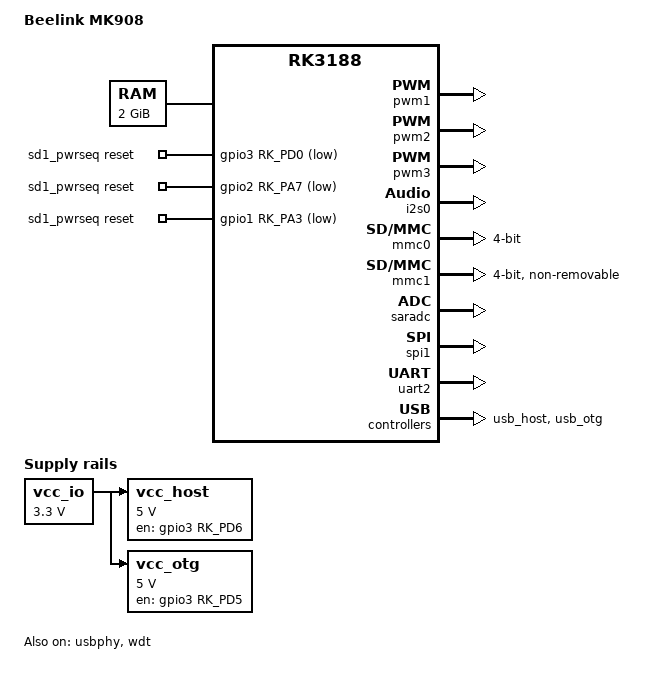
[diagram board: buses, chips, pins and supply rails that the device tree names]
/*
 * Copyright (c) 2013 Heiko Stuebner <heiko@sntech.de>
 *
 * This file is dual-licensed: you can use it either under the terms
 * of the GPL or the X11 license, at your option. Note that this dual
 * licensing only applies to this file, and not this project as a
 * whole.
 *
 *  a) This file is free software; you can redistribute it and/or
 *     modify it under the terms of the GNU General Public License as
 *     published by the Free Software Foundation; either version 2 of the
 *     License, or (at your option) any later version.
 *
 *     This file is distributed in the hope that it will be useful,
 *     but WITHOUT ANY WARRANTY; without even the implied warranty of
 *     MERCHANTABILITY or FITNESS FOR A PARTICULAR PURPOSE.  See the
 *     GNU General Public License for more details.
 *
 * Or, alternatively,
 *
 *  b) Permission is hereby granted, free of charge, to any person
 *     obtaining a copy of this software and associated documentation
 *     files (the "Software"), to deal in the Software without
 *     restriction, including without limitation the rights to use,
 *     copy, modify, merge, publish, distribute, sublicense, and/or
 *     sell copies of the Software, and to permit persons to whom the
 *     Software is furnished to do so, subject to the following
 *     conditions:
 *
 *     The above copyright notice and this permission notice shall be
 *     included in all copies or substantial portions of the Software.
 *
 *     THE SOFTWARE IS PROVIDED "AS IS", WITHOUT WARRANTY OF ANY KIND,
 *     EXPRESS OR IMPLIED, INCLUDING BUT NOT LIMITED TO THE WARRANTIES
 *     OF MERCHANTABILITY, FITNESS FOR A PARTICULAR PURPOSE AND
 *     NONINFRINGEMENT. IN NO EVENT SHALL THE AUTHORS OR COPYRIGHT
 *     HOLDERS BE LIABLE FOR ANY CLAIM, DAMAGES OR OTHER LIABILITY,
 *     WHETHER IN AN ACTION OF CONTRACT, TORT OR OTHERWISE, ARISING
 *     FROM, OUT OF OR IN CONNECTION WITH THE SOFTWARE OR THE USE OR
 *     OTHER DEALINGS IN THE SOFTWARE.
 */

/dts-v1/;
#include <dt-bindings/input/input.h>
#include "rk3188.dtsi"

/ {
	model = "Beelink MK908";
	compatible = "radxa,rock", "rockchip,rk3188";

	memory@60000000 {
		device_type = "memory";
		reg = <0x60000000 0x80000000>;
	};


	vcc_io: vcc-io {
		compatible = "regulator-fixed";
		regulator-name = "vcc_io";
		regulator-min-microvolt = <3300000>;
		regulator-max-microvolt = <3300000>;
	};

	vcc_host: usb-host-regulator {
		compatible = "regulator-fixed";
		enable-active-high;
		gpio = <&gpio3 RK_PD6 GPIO_ACTIVE_HIGH>;
		pinctrl-0 = <&host_drv>;
		pinctrl-names = "default";
		regulator-always-on;
		regulator-name = "host-pwr";
		regulator-min-microvolt = <5000000>;
		regulator-max-microvolt = <5000000>;
		startup-delay-us = <100000>;
		vin-supply = <&vcc_io>;
	};

	vcc_otg: usb-otg-regulator {
		compatible = "regulator-fixed";
		enable-active-high;
		gpio = <&gpio3 RK_PD5 GPIO_ACTIVE_HIGH>;
		pinctrl-0 = <&otg_drv>;
		pinctrl-names = "default";
		regulator-always-on;
		regulator-name = "vcc_otg";
		regulator-min-microvolt = <5000000>;
		regulator-max-microvolt = <5000000>;
		startup-delay-us = <100000>;
		vin-supply = <&vcc_io>;
	};
	sd1_pwrseq: sd1-pwrseq {
		compatible = "mmc-pwrseq-simple";
		/*pinctrl-names = "default";
		pinctrl-0 = <&bt_wake_h>;*/

		/*
		 * On the module itself this is one of these (depending
		 * on the actual card populated):
		 * - SDIO_RESET_L_WL_REG_ON
		 * - SDIO_RESET_L_WL_RST
		 * - SDIO_RESET_L_BT_EN
		 */
		reset-gpios = <&gpio3 RK_PD0 GPIO_ACTIVE_LOW>, /* WL_REG_ON */
			      <&gpio2 RK_PA7 GPIO_ACTIVE_LOW>, /* WL_RST */
			      <&gpio1 RK_PA3 GPIO_ACTIVE_LOW>; /* BT_EN */
	};

/*
3 pc5 low sd1-clk/mac_clk
3 pd5 low/high pwm2-out
1 pc0 low/high i2s0-bus
1 pc1 high i2s0-bus
1 pc0-2 low i2s0-bus
1 pc3 high i2s0-bus


1 pa2 low uart0-cts
1 pa3 low uart0-rts
3 pc7 low sd1-wp
3 pd1 high emac-mdio

3 pd0 wifi_power
2 pa7 wifi_reset
3 pd1 ap6210_reset
*/
};

&pwm1 {
	status = "okay";
};

&pwm2 {
	status = "okay";
};

&pwm3 {
	status = "okay";
};

&i2s0 {
	status = "okay";
};

&mmc0 {
	no-emmc;
	no-sdio;
	cap-sd-highspeed;
	cap-mmc-highspeed;
	bus-width = <4>;
	disable-wp;
	pinctrl-names = "default";
	pinctrl-0 = <&sd0_clk>, <&sd0_cmd>, <&sd0_cd>, <&sd0_bus4>;
	status = "okay";
};

&mmc1 {
	clock-frequency = <390625>;
	pinctrl-names = "default";
	disable-wp;
	pinctrl-0 = <&sd1_clk>, <&sd1_cmd>, <&sd1_wp>, <&sd1_bus4>, <&wifi_pwr>, <&ap6210_reset>, <&wifi_reset>, <&sd_wp2>, <&uart0_cts2>, <&uart0_rts2>;
	bus-width = <4>;
	non-removable;
	status = "okay";
	mmc-pwrseq = <&sd1_pwrseq>;
};

/*
https://github.com/Dee-UK/D33_KK_Kernel/blob/master/arch/arm/mach-rk3188/board-rk3188-box.c
*/

&pinctrl {
	usb-host {
		host_drv: host-drv {
			rockchip,pins = <RK_GPIO3 30 RK_FUNC_GPIO &pcfg_pull_none>;
		};
	};

	usb-otg {
		otg_drv: otg-drv {
			rockchip,pins = <RK_GPIO3 29 RK_FUNC_GPIO &pcfg_pull_none>;
		};
	};

	sd1 {
		wifi_pwr: wifi-pwr {
			rockchip,pins = <RK_GPIO3 RK_PD0 RK_FUNC_1 &pcfg_pull_none>;
		};
		ap6210_reset: ap6210-reset {
			rockchip,pins = <RK_GPIO3 RK_PD1 RK_FUNC_1 &pcfg_pull_none>;
		};
		wifi_reset: wifi-reset {
			rockchip,pins = <RK_GPIO2 RK_PA7 RK_FUNC_1 &pcfg_pull_none>;
		};
		sd_wp2: sd-wp2 {
			rockchip,pins = <RK_GPIO3 RK_PC7 RK_FUNC_GPIO &pcfg_pull_none>;
		};
		uart0_cts2: uart0-cts2 {
			rockchip,pins = <RK_GPIO1 RK_PA2 RK_FUNC_GPIO &pcfg_pull_none>;
		};
		uart0_rts2: uart0-rts2 {
			rockchip,pins = <RK_GPIO1 RK_PA3 RK_FUNC_GPIO &pcfg_pull_none>;
		};

	};
};

&saradc {
	status = "okay";
};

&spi1 {
	status = "okay";
};

&uart2 {
	status = "okay";
};

&usb_host {
	status = "okay";
};

&usb_otg {
	status = "okay";
};

&usbphy {
	status = "okay";
};

&wdt {
	status = "okay";
};
